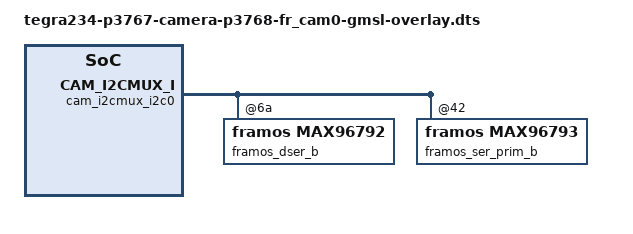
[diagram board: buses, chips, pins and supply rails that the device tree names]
// SPDX-License-Identifier: GPL-2.0
/*
 * Copyright (c) 2024 Framos. All rights reserved.
 *
 * tegra234-p3767-camera-p3768-fr_cam0-gmsl-overlay.dts
 */

/dts-v1/;
/plugin/;

#include <dt-bindings/clock/tegra234-clock.h>
#include <dt-bindings/gpio/tegra234-gpio.h>
#include <dt-bindings/tegra234-p3767-0000-common.h>


/ {
	overlay-name = "Framos GMSL-CAM0";
	jetson-header-name = "Jetson 24pin CSI Connector";
	compatible = JETSON_COMPATIBLE_P3768;

	fragment@0 {
		target = <&cam_i2cmux_i2c0>;
		__overlay__ {
			framos_dser_b: max96792_b@6a {
				compatible = "framos,max96792";
				reg = <0x6a>;
				csi-mode = "2x4";
				max-src = <1>;
			};
			framos_ser_prim_b: max96793_prim_b@42 {
				compatible = "framos,max96793";
				reg = <0x42>;
				nvidia,gmsl-dser-device = <&framos_dser_b>;
				is-prim-ser;
			};
		};
	};

	fragment@1 {
		target = <&sensor_b>;
		__overlay__ {
			nvidia,gmsl-ser-device = <&framos_ser_prim_b>;
			nvidia,gmsl-dser-device = <&framos_dser_b>;
			gmsl-link {
				src-csi-port = "b";
				dst-csi-port = "a";
				serdes-csi-link = "a";
				csi-mode = "1x4";
				st-vc = <0>;
				vc-id = <0>;
				streams = "raw12";
			};
		};
	};

};
